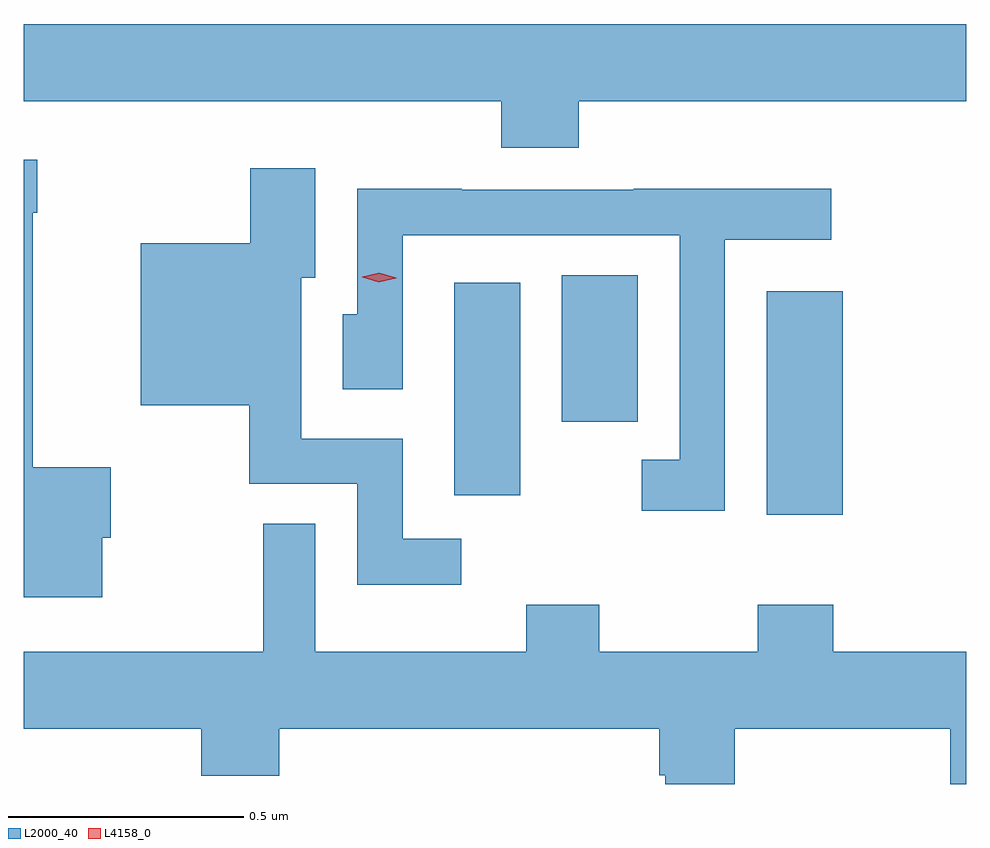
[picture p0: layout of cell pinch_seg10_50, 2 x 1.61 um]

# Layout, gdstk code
import gdstk
lib = gdstk.Library(unit=1e-6, precision=1e-09)
def R(c, l, rs):  # rectangles x0, y0, x1, y1
    for r in rs: c.add(gdstk.rectangle(r[:2], r[2:], *l))
def P(c, l, *ps):  # polygons
    for p in ps: c.add(gdstk.Polygon(p, *l))
L2000_40 = (2000, 40)
L4158_0 = (4158, 0)

pinch_seg10_50 = lib.new_cell('pinch_seg10_50')
R(pinch_seg10_50, L2000_40, [(865.751,1306.098,865.912,1306.573), (865.088,1306.14,865.228,1306.591), (865.316,1306.296,865.477,1306.607)])
P(pinch_seg10_50, L2000_40, [(865.352,1306.976),(866.174,1306.976),(866.174,1307.14),(864.174,1307.14),(864.174,1306.976),(865.187,1306.976),(865.187,1306.877),(865.352,1306.877)],
  [(864.34,1306.05),(864.358,1306.05),(864.358,1306.199),(864.193,1306.199),(864.193,1306.739),(864.203,1306.739),(864.203,1306.852),(864.174,1306.852),(864.174,1305.923),(864.34,1305.923)],
  [(865.102,1306.047),(864.978,1306.047),(864.978,1306.26),(864.763,1306.26),(864.763,1306.601),(864.793,1306.601),(864.793,1306.834),(864.655,1306.834),(864.655,1306.675),(864.422,1306.675),(864.422,1306.331),(864.652,1306.331),(864.652,1306.164),(864.882,1306.164),(864.882,1305.95),(865.102,1305.95)],
  [(865.662,1306.682),(865.888,1306.682),(865.888,1306.79),(865.469,1306.79),(865.469,1306.788),(865.103,1306.788),(865.103,1306.79),(864.882,1306.79),(864.882,1306.524),(864.851,1306.524),(864.851,1306.365),(864.978,1306.365),(864.978,1306.692),(865.566,1306.692),(865.566,1306.215),(865.485,1306.215),(865.485,1306.107),(865.662,1306.107)],
  [(865.683,1305.644),(866.14,1305.644),(866.14,1305.527),(866.174,1305.527),(866.174,1305.808),(865.892,1305.808),(865.892,1305.907),(865.732,1305.907),(865.732,1305.808),(865.395,1305.808),(865.395,1305.907),(865.24,1305.907),(865.24,1305.808),(864.793,1305.808),(864.793,1306.079),(864.682,1306.079),(864.682,1305.808),(864.174,1305.808),(864.174,1305.644),(864.551,1305.644),(864.551,1305.545),(864.716,1305.545),(864.716,1305.644),(865.523,1305.644),(865.523,1305.546),(865.535,1305.546),(865.535,1305.527),(865.683,1305.527)])
P(pinch_seg10_50, L4158_0, [(864.927,1306.592),(864.892,1306.603),(864.892,1306.603),(864.892,1306.604),(864.928,1306.612),(864.964,1306.601),(864.964,1306.6),(864.964,1306.6)])

lib.write_gds('pinch_seg10_50.gds')
